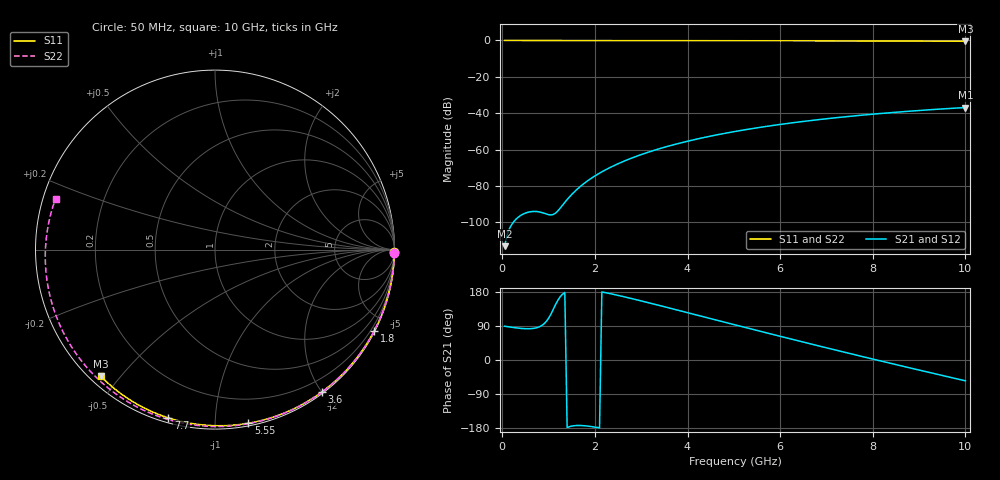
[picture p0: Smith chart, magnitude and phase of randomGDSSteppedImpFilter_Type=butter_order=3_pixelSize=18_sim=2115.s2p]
! freq	dB(S11)	phase(S11)	dB(S12)	phase(S12)
!  dB(S21)	phase(S21)	dB(S22)	phase(S22)
!S-par simulation data
#  GHz  S  DB  R 50
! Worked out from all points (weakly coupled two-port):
!   200 points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, 50 MHz to 10 GHz, reference 50 ohm
!   highest |S21| = -36.88 dB at 10 GHz (marker M1); lowest = -113.1 dB at 50 MHz (marker M2)
!   lowest |S11| = -0.4 dB at 10 GHz (marker M3), VSWR 38.88, Z = 1.54 - j22.2 ohm
!   |S11| at or under -10 dB: nowhere
!   |S22| runs from -0.6 to 0.0 dB; largest |S21 - S12| = 0
!   S11 on the Smith chart (normalised r, x): 50 MHz: open; 1.8 GHz: 0.04, -4.15; 3.6 GHz: 0.02, -2.01; 5.55 GHz: 0.02, -1.21; 7.7 GHz: 0.02, -0.76; 10 GHz: 0.03, -0.44
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0.05  -0.00 -0.8  -113.11 89.2  -113.11 89.2  -0.00 -1.2
0.4  -0.01 -6.1  -96.16 83.3  -96.16 83.3  -0.01 -9.2
0.8  -0.02 -12.2  -94.28 87.6  -94.28 87.6  -0.02 -18.4
1.2  -0.02 -18.2  -93.70 157.6  -93.70 157.6  -0.03 -27.4
1.65  -0.03 -24.9  -81.02 -172.8  -81.02 -172.8  -0.05 -37.4
1.7  -0.03 -25.6  -79.95 -172.9  -79.95 -172.9  -0.05 -38.5
1.75  -0.03 -26.4  -78.93 -173.3  -78.93 -173.3  -0.05 -39.6
1.8  -0.03 -27.1  -77.96 -173.8  -77.96 -173.8  -0.05 -40.7
2.1  -0.04 -31.5  -72.95 -179.2  -72.95 -179.2  -0.06 -47.3
2.5  -0.05 -37.3  -67.78 170.5  -67.78 170.5  -0.07 -55.9
2.9  -0.06 -43.1  -63.65 158.9  -63.65 158.9  -0.08 -64.3
3.4  -0.07 -50.2  -59.46 143.6  -59.46 143.6  -0.10 -74.6
3.6  -0.07 -53.0  -58.01 137.4  -58.01 137.4  -0.10 -78.6
4.3  -0.09 -62.6  -53.66 115.5  -53.66 115.5  -0.13 -92.4
5.05  -0.11 -72.6  -49.93 92.0  -49.93 92.0  -0.16 -106.6
5.55  -0.13 -79.1  -47.84 76.4  -47.84 76.4  -0.19 -115.8
6.1  -0.15 -86.1  -45.82 59.4  -45.82 59.4  -0.22 -125.8
6.7  -0.18 -93.5  -43.91 41.2  -43.91 41.2  -0.26 -136.6
7.7  -0.24 -105.6  -41.23 11.3  -41.23 11.3  -0.35 -154.4
8.35  -0.29 -113.2  -39.77 -7.8  -39.77 -7.8  -0.41 -166.2
9.2  -0.36 -123.0  -38.15 -32.3  -38.15 -32.3  -0.51 177.9
10  -0.45 -132.0  -36.88 -54.9  -36.88 -54.9  -0.61 162.3
